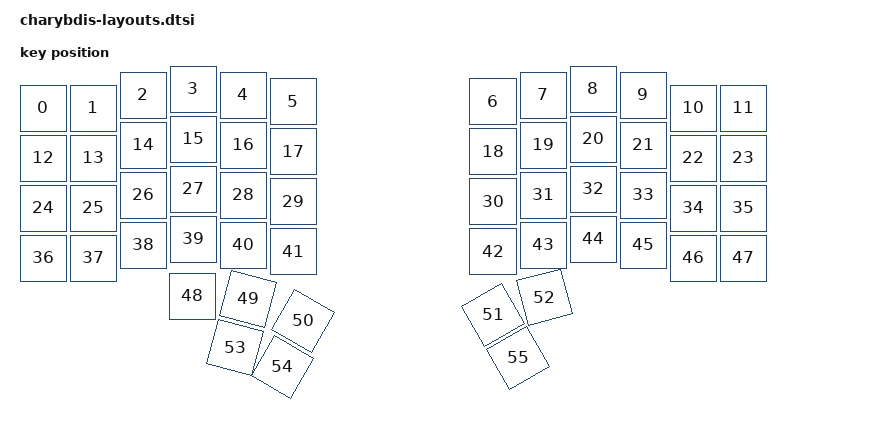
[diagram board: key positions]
#include <physical_layouts.dtsi>

/ {
    physical_layout0: physical_layout_0 {
        compatible = "zmk,physical-layout";
        display-name = "Charybdis";

        keys  //                     w   h    x    y     rot    rx    ry
            = <&key_physical_attrs 100 100    0   38       0     0     0>
            , <&key_physical_attrs 100 100  100   38       0     0     0>
            , <&key_physical_attrs 100 100  200   12       0     0     0>
            , <&key_physical_attrs 100 100  300    0       0     0     0>
            , <&key_physical_attrs 100 100  400   12       0     0     0>
            , <&key_physical_attrs 100 100  500   25       0     0     0>
            , <&key_physical_attrs 100 100  900   25       0     0     0>
            , <&key_physical_attrs 100 100 1000   12       0     0     0>
            , <&key_physical_attrs 100 100 1100    0       0     0     0>
            , <&key_physical_attrs 100 100 1200   12       0     0     0>
            , <&key_physical_attrs 100 100 1300   38       0     0     0>
            , <&key_physical_attrs 100 100 1400   38       0     0     0>
            , <&key_physical_attrs 100 100    0  138       0     0     0>
            , <&key_physical_attrs 100 100  100  138       0     0     0>
            , <&key_physical_attrs 100 100  200  112       0     0     0>
            , <&key_physical_attrs 100 100  300  100       0     0     0>
            , <&key_physical_attrs 100 100  400  112       0     0     0>
            , <&key_physical_attrs 100 100  500  125       0     0     0>
            , <&key_physical_attrs 100 100  900  125       0     0     0>
            , <&key_physical_attrs 100 100 1000  112       0     0     0>
            , <&key_physical_attrs 100 100 1100  100       0     0     0>
            , <&key_physical_attrs 100 100 1200  112       0     0     0>
            , <&key_physical_attrs 100 100 1300  138       0     0     0>
            , <&key_physical_attrs 100 100 1400  138       0     0     0>
            , <&key_physical_attrs 100 100    0  238       0     0     0>
            , <&key_physical_attrs 100 100  100  238       0     0     0>
            , <&key_physical_attrs 100 100  200  212       0     0     0>
            , <&key_physical_attrs 100 100  300  200       0     0     0>
            , <&key_physical_attrs 100 100  400  212       0     0     0>
            , <&key_physical_attrs 100 100  500  225       0     0     0>
            , <&key_physical_attrs 100 100  900  225       0     0     0>
            , <&key_physical_attrs 100 100 1000  212       0     0     0>
            , <&key_physical_attrs 100 100 1100  200       0     0     0>
            , <&key_physical_attrs 100 100 1200  212       0     0     0>
            , <&key_physical_attrs 100 100 1300  238       0     0     0>
            , <&key_physical_attrs 100 100 1400  238       0     0     0>
            , <&key_physical_attrs 100 100    0  338       0     0     0>
            , <&key_physical_attrs 100 100  100  338       0     0     0>
            , <&key_physical_attrs 100 100  200  312       0     0     0>
            , <&key_physical_attrs 100 100  300  300       0     0     0>
            , <&key_physical_attrs 100 100  400  312       0     0     0>
            , <&key_physical_attrs 100 100  500  325       0     0     0>
            , <&key_physical_attrs 100 100  900  325       0     0     0>
            , <&key_physical_attrs 100 100 1000  312       0     0     0>
            , <&key_physical_attrs 100 100 1100  300       0     0     0>
            , <&key_physical_attrs 100 100 1200  312       0     0     0>
            , <&key_physical_attrs 100 100 1300  338       0     0     0>
            , <&key_physical_attrs 100 100 1400  338       0     0     0>
            , <&key_physical_attrs 100 100  298  414       0     0     0>
            , <&key_physical_attrs 100 100  332  414    1500   398   764>
            , <&key_physical_attrs 100 100  372  411    3000   398   764>
            , <&key_physical_attrs 100 100 1052  411 (-3000)  1102   764>
            , <&key_physical_attrs 100 100 1082  414 (-1500)  1102   764>
            , <&key_physical_attrs 100 100  332  514    1500   398   764>
            , <&key_physical_attrs 100 100  382  511    3000   398   764>
            , <&key_physical_attrs 100 100 1052  511 (-3000)  1102   764>
            ;
    };
};

